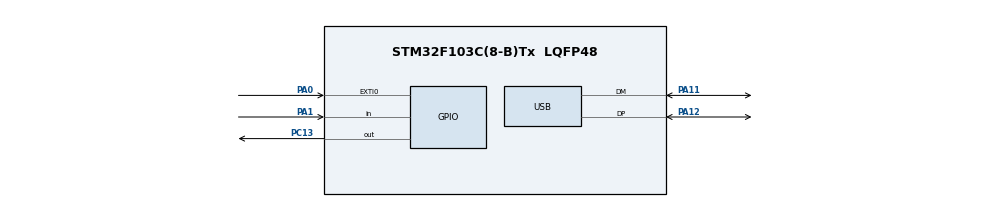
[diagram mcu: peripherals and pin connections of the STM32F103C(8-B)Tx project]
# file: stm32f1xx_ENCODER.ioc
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Mcu.Family=STM32F1
Mcu.Name=STM32F103C(8-B)Tx
Mcu.Package=LQFP48
NVIC.EXTI0_IRQn=true\:3\:0\:true\:false\:false\:true\:false
NVIC.PriorityGroup=NVIC_PRIORITYGROUP_4
NVIC.USB_LP_CAN1_RX0_IRQn=true\:0\:0\:false\:false\:true\:false\:true
PA0-WKUP.GPIO_ModeDefaultEXTI=GPIO_MODE_IT_FALLING
PA0-WKUP.Signal=GPXTI0
PA1.Signal=GPIO_Input
PA11.Mode=Device
PA11.Signal=USB_DM
PA12.Mode=Device
PA12.Signal=USB_DP
PA13.Mode=Serial_Wire
PA13.Signal=SYS_JTMS-SWDIO
PA14.Mode=Serial_Wire
PA14.Signal=SYS_JTCK-SWCLK
PC13-TAMPER-RTC.Signal=GPIO_Output
PD0-OSC_IN.Mode=HSE-External-Oscillator
PD0-OSC_IN.Signal=RCC_OSC_IN
PD1-OSC_OUT.Mode=HSE-External-Oscillator
PD1-OSC_OUT.Signal=RCC_OSC_OUT
ProjectManager.HeapSize=0x200
ProjectManager.StackSize=0x400
ProjectManager.TargetToolchain=STM32CubeIDE
RCC.AHBFreq_Value=72000000
RCC.APB1CLKDivider=RCC_HCLK_DIV2
RCC.APB1Freq_Value=36000000
RCC.APB1TimFreq_Value=72000000
RCC.APB2Freq_Value=72000000
RCC.APB2TimFreq_Value=72000000
RCC.HCLKFreq_Value=72000000
RCC.PLLMUL=RCC_PLL_MUL9
RCC.SYSCLKFreq_VALUE=72000000
RCC.SYSCLKSource=RCC_SYSCLKSOURCE_PLLCLK
RCC.USBFreq_Value=48000000
RCC.USBPrescaler=RCC_USBCLKSOURCE_PLL_DIV1_5
USB_DEVICE.CLASS_NAME_FS=CDC
USB_DEVICE.VirtualMode=Cdc
USB_DEVICE.VirtualModeFS=Cdc_FS
VP_TIM2_VS_ClockSourceINT.Mode=Internal
VP_USB_DEVICE_VS_USB_DEVICE_CDC_FS.Mode=CDC_FS
board=custom

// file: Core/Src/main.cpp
/* USER CODE BEGIN Header */
/**
 ******************************************************************************
 * @file           : main.c
 * @brief          : Main program body
 ******************************************************************************
 * @attention
 *
 * <h2><center>&copy; Copyright (c) 2020 STMicroelectronics.
 * All rights reserved.</center></h2>
 *
 * This software component is licensed by ST under BSD 3-Clause license,
 * the "License"; You may not use this file except in compliance with the
 * License. You may obtain a copy of the License at:
 *                        opensource.org/licenses/BSD-3-Clause
 *
 ******************************************************************************
 */
/* USER CODE END Header */
#include "main.h"
#include "usb_device.h"

/* USER CODE BEGIN Includes */
#include "main.h"
#include "Print.h"
#include "usbd_cdc_if.h"

/* USER CODE END Includes */

/* USER CODE BEGIN PM */

#define CHANEL_A     GPIO_PIN_0
#define CHANEL_B     GPIO_PIN_1

#define STATE_CHANEL_A()    HAL_GPIO_ReadPin(GPIOA, CHANEL_A)
#define STATE_CHANEL_B()    HAL_GPIO_ReadPin(GPIOA, CHANEL_B)

/* USER CODE END PM */

TIM_HandleTypeDef htim2;

/* USER CODE BEGIN PV */

class Usb: public Print
{
public:

    Usb();
    virtual void write( uint8_t * text );
};

Usb::Usb()
{

}

void Usb::write( uint8_t * text )
{

    CDC_Transmit_FS( text, strlen( (char*) text ) );
}

Usb usb;

uint16_t maxSteps = 100;
volatile uint16_t ISRCounter = 0;
uint16_t counter = 0;
bool IsCW = true;

char texto[1000];
char  *text = texto;
/* USER CODE END PV */

void SystemClock_Config( void );
static void MX_GPIO_Init( void );
static void MX_TIM2_Init( void );
/* USER CODE BEGIN PFP */

void CDC_ReceiveCallBack( uint8_t * Buf, uint16_t Len );
void EXTI0_IRQHandler();

/* USER CODE END PFP */

int main( void )
{

    /* MCU Configuration--------------------------------------------------------*/

    /* Reset of all peripherals, Initializes the Flash interface and the Systick. */
    HAL_Init();

    /* Configure the system clock */
    SystemClock_Config();

    /* Initialize all configured peripherals */
    MX_GPIO_Init();
    MX_USB_DEVICE_Init();
    MX_TIM2_Init();

    /* Infinite loop */
    /* USER CODE BEGIN WHILE */
    while ( 1 )
    {

        if ( counter != ISRCounter )
        {
            counter = ISRCounter;
            usb.print( "valor = %d \r\n", counter );
        }

        HAL_Delay( 1000 );
        /* USER CODE END WHILE */

    }
}

void SystemClock_Config( void )
{
    RCC_OscInitTypeDef RCC_OscInitStruct =
    { 0 };
    RCC_ClkInitTypeDef RCC_ClkInitStruct =
    { 0 };
    RCC_PeriphCLKInitTypeDef PeriphClkInit =
    { 0 };

    /** Initializes the RCC Oscillators according to the specified parameters
     * in the RCC_OscInitTypeDef structure.
     */
    RCC_OscInitStruct.OscillatorType = RCC_OSCILLATORTYPE_HSE;
    RCC_OscInitStruct.HSEState = RCC_HSE_ON;
    RCC_OscInitStruct.HSEPredivValue = RCC_HSE_PREDIV_DIV1;
    RCC_OscInitStruct.HSIState = RCC_HSI_ON;
    RCC_OscInitStruct.PLL.PLLState = RCC_PLL_ON;
    RCC_OscInitStruct.PLL.PLLSource = RCC_PLLSOURCE_HSE;
    RCC_OscInitStruct.PLL.PLLMUL = RCC_PLL_MUL9;
    if ( HAL_RCC_OscConfig( &RCC_OscInitStruct ) != HAL_OK )
    {
        Error_Handler();
    }
    /** Initializes the CPU, AHB and APB buses clocks
     */
    RCC_ClkInitStruct.ClockType = RCC_CLOCKTYPE_HCLK | RCC_CLOCKTYPE_SYSCLK
            | RCC_CLOCKTYPE_PCLK1 | RCC_CLOCKTYPE_PCLK2;
    RCC_ClkInitStruct.SYSCLKSource = RCC_SYSCLKSOURCE_PLLCLK;
    RCC_ClkInitStruct.AHBCLKDivider = RCC_SYSCLK_DIV1;
    RCC_ClkInitStruct.APB1CLKDivider = RCC_HCLK_DIV2;
    RCC_ClkInitStruct.APB2CLKDivider = RCC_HCLK_DIV1;

    if ( HAL_RCC_ClockConfig( &RCC_ClkInitStruct, FLASH_LATENCY_2 ) != HAL_OK )
    {
        Error_Handler();
    }
    PeriphClkInit.PeriphClockSelection = RCC_PERIPHCLK_USB;
    PeriphClkInit.UsbClockSelection = RCC_USBCLKSOURCE_PLL_DIV1_5;
    if ( HAL_RCCEx_PeriphCLKConfig( &PeriphClkInit ) != HAL_OK )
    {
        Error_Handler();
    }
}

static void MX_TIM2_Init( void )
{

    TIM_ClockConfigTypeDef sClockSourceConfig =
    { 0 };
    TIM_MasterConfigTypeDef sMasterConfig =
    { 0 };

    htim2.Instance = TIM2;
    htim2.Init.Prescaler = 0;
    htim2.Init.CounterMode = TIM_COUNTERMODE_UP;
    htim2.Init.Period = 65535;
    htim2.Init.ClockDivision = TIM_CLOCKDIVISION_DIV1;
    htim2.Init.AutoReloadPreload = TIM_AUTORELOAD_PRELOAD_DISABLE;
    if ( HAL_TIM_Base_Init( &htim2 ) != HAL_OK )
    {
        Error_Handler();
    }
    sClockSourceConfig.ClockSource = TIM_CLOCKSOURCE_INTERNAL;
    if ( HAL_TIM_ConfigClockSource( &htim2, &sClockSourceConfig ) != HAL_OK )
    {
        Error_Handler();
    }
    sMasterConfig.MasterOutputTrigger = TIM_TRGO_RESET;
    sMasterConfig.MasterSlaveMode = TIM_MASTERSLAVEMODE_DISABLE;
    if ( HAL_TIMEx_MasterConfigSynchronization( &htim2, &sMasterConfig )
            != HAL_OK )
    {
        Error_Handler();
    }

}

static void MX_GPIO_Init( void )
{
    GPIO_InitTypeDef GPIO_InitStruct =
    { 0 };

    /* GPIO Ports Clock Enable */
    __HAL_RCC_GPIOC_CLK_ENABLE( );
    __HAL_RCC_GPIOD_CLK_ENABLE( );
    __HAL_RCC_GPIOA_CLK_ENABLE( );

    /*Configure GPIO pin Output Level */
    HAL_GPIO_WritePin( GPIOC, GPIO_PIN_13, GPIO_PIN_RESET );

    /*Configure GPIO pin : PC13 */
    GPIO_InitStruct.Pin = GPIO_PIN_13;
    GPIO_InitStruct.Mode = GPIO_MODE_OUTPUT_PP;
    GPIO_InitStruct.Pull = GPIO_NOPULL;
    GPIO_InitStruct.Speed = GPIO_SPEED_FREQ_LOW;
    HAL_GPIO_Init( GPIOC, &GPIO_InitStruct );

    /*Configure GPIO pin : PA0 */
    GPIO_InitStruct.Pin = GPIO_PIN_0;
    GPIO_InitStruct.Mode = GPIO_MODE_IT_FALLING;
    GPIO_InitStruct.Pull = GPIO_NOPULL;
    HAL_GPIO_Init( GPIOA, &GPIO_InitStruct );

    /*Configure GPIO pin : PA1 */
    GPIO_InitStruct.Pin = GPIO_PIN_1;
    GPIO_InitStruct.Mode = GPIO_MODE_INPUT;
    GPIO_InitStruct.Pull = GPIO_NOPULL;
    HAL_GPIO_Init( GPIOA, &GPIO_InitStruct );

    /* EXTI interrupt init*/
    HAL_NVIC_SetPriority( EXTI0_IRQn, 3, 0 );
    HAL_NVIC_EnableIRQ( EXTI0_IRQn );

}

/* USER CODE BEGIN 4 */
void EXTI0_IRQHandler()
{

    HAL_GPIO_WritePin( GPIOC, GPIO_PIN_13, GPIO_PIN_RESET );
    HAL_Delay( 1 );

    if ( STATE_CHANEL_A() == STATE_CHANEL_B( ) )
    {
        IsCW = true;
        if ( ISRCounter + 1 <= maxSteps ) ISRCounter++;
    }
    else
    {
        IsCW = false;
        if ( ISRCounter - 1 > 0 ) ISRCounter--;
    }

    HAL_GPIO_WritePin( GPIOC, GPIO_PIN_13, GPIO_PIN_SET );
    __HAL_GPIO_EXTI_CLEAR_IT( GPIO_PIN_0 );

}

/* USER CODE END 4 */

void Error_Handler( void )
{
}

/************************ (C) COPYRIGHT STMicroelectronics *****END OF FILE****/
